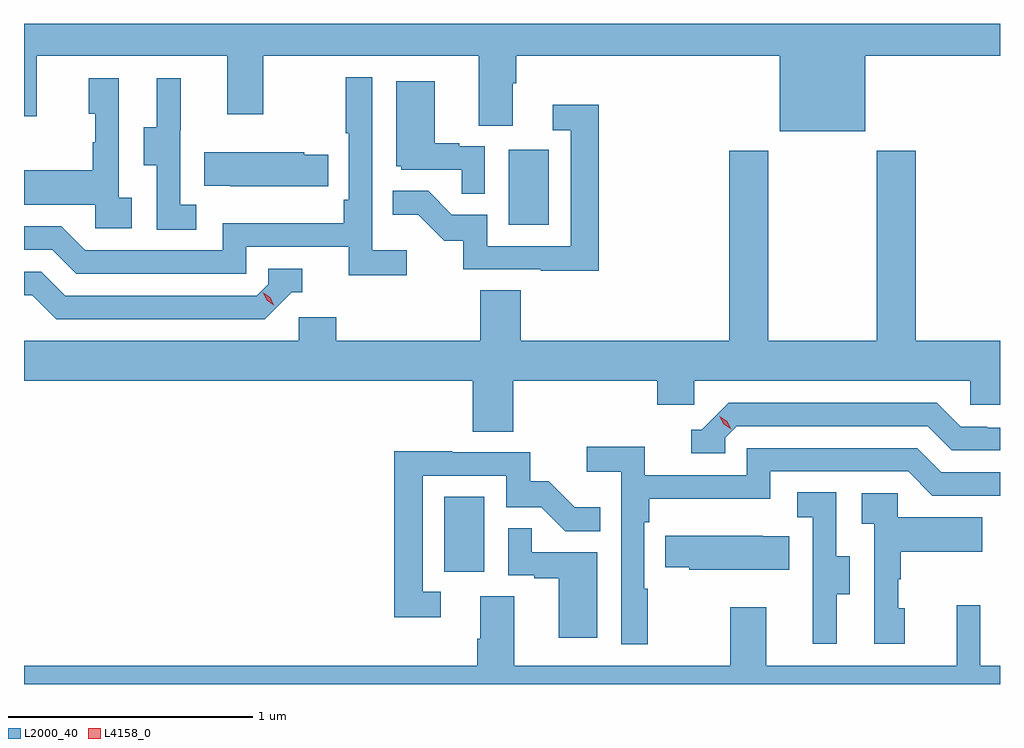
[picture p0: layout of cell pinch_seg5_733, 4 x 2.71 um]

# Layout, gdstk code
import gdstk
lib = gdstk.Library(unit=1e-6, precision=1e-09)
def R(c, l, rs):  # rectangles x0, y0, x1, y1
    for r in rs: c.add(gdstk.rectangle(r[:2], r[2:], *l))
def P(c, l, *ps):  # polygons
    for p in ps: c.add(gdstk.Polygon(p, *l))
L2000_40 = (2000, 40)
L4158_0 = (4158, 0)

pinch_seg5_733 = lib.new_cell('pinch_seg5_733')
R(pinch_seg5_733, L2000_40, [(880.826,913.254,880.99,913.561), (881.09,914.676,881.254,914.983)])
P(pinch_seg5_733, L2000_40, [(882.55,915.368),(883.103,915.368),(883.103,915.5),(879.103,915.5),(879.103,915.12),(879.155,915.12),(879.155,915.368),(879.935,915.368),(879.935,915.129),(880.083,915.129),(880.083,915.368),(880.967,915.368),(880.967,915.082),(881.107,915.082),(881.107,915.256),(881.12,915.256),(881.12,915.368),(882.2,915.368),(882.2,915.059),(882.55,915.059)],
  [(880.672,914.572),(880.53,914.572),(880.53,915.28),(880.422,915.28),(880.422,915.052),(880.434,915.052),(880.434,914.779),(880.414,914.779),(880.414,914.683),(879.918,914.683),(879.918,914.571),(879.354,914.571),(879.255,914.67),(879.103,914.67),(879.103,914.574),(879.218,914.574),(879.317,914.475),(880.014,914.475),(880.014,914.586),(880.433,914.586),(880.433,914.47),(880.672,914.47)],
  [(879.544,914.786),(879.492,914.786),(879.492,915.277),(879.368,915.277),(879.368,915.132),(879.394,915.132),(879.394,915.014),(879.384,915.014),(879.384,914.899),(879.103,914.899),(879.103,914.759),(879.396,914.759),(879.396,914.661),(879.544,914.661)],
  [(879.808,914.759),(879.744,914.759),(879.744,915.063),(879.746,915.063),(879.746,915.277),(879.647,915.277),(879.647,915.075),(879.593,915.075),(879.593,914.92),(879.648,914.92),(879.648,914.656),(879.808,914.656)],
  [(880.992,914.997),(880.886,914.997),(880.886,915.01),(880.786,915.01),(880.786,915.265),(880.628,915.265),(880.628,914.916),(880.65,914.916),(880.65,914.901),(880.897,914.901),(880.897,914.803),(880.992,914.803)],
  [(881.459,915.169),(881.271,915.169),(881.271,915.063),(881.343,915.063),(881.343,914.589),(881.001,914.589),(881.001,914.718),(880.857,914.718),(880.759,914.816),(880.615,914.816),(880.615,914.717),(880.719,914.717),(880.826,914.61),(880.903,914.61),(880.903,914.493),(881.221,914.493),(881.221,914.488),(881.459,914.488)],
  [(880.943,913.828),(881.108,913.828),(881.108,914.036),(881.699,914.036),(881.699,913.938),(881.85,913.938),(881.85,914.036),(882.981,914.036),(882.981,913.938),(883.103,913.938),(883.103,914.2),(882.758,914.2),(882.758,914.98),(882.598,914.98),(882.598,914.2),(882.153,914.2),(882.153,914.98),(881.993,914.98),(881.993,914.2),(881.138,914.2),(881.138,914.408),(880.973,914.408),(880.973,914.2),(880.382,914.2),(880.382,914.298),(880.23,914.298),(880.23,914.2),(879.103,914.2),(879.103,914.036),(880.943,914.036)],
  [(880.349,914.964),(880.251,914.964),(880.251,914.974),(879.841,914.974),(879.841,914.837),(879.949,914.837),(879.949,914.834),(880.349,914.834)],
  [(880.2,914.4),(880.243,914.4),(880.243,914.496),(880.104,914.496),(880.104,914.433),(880.056,914.385),(879.273,914.385),(879.174,914.484),(879.103,914.484),(879.103,914.388),(879.137,914.388),(879.236,914.289),(880.089,914.289)],
  [(881.976,913.803),(882.024,913.851),(882.807,913.851),(882.906,913.752),(883.103,913.752),(883.103,913.845),(883.05,913.845),(883.05,913.848),(882.943,913.848),(882.844,913.947),(881.991,913.947),(881.88,913.836),(881.837,913.836),(881.837,913.74),(881.976,913.74)],
  [(881.659,913.184),(881.646,913.184),(881.646,913.457),(881.666,913.457),(881.666,913.553),(882.162,913.553),(882.162,913.665),(882.726,913.665),(882.825,913.566),(883.103,913.566),(883.103,913.662),(882.862,913.662),(882.763,913.761),(882.066,913.761),(882.066,913.65),(881.648,913.65),(881.648,913.766),(881.409,913.766),(881.409,913.664),(881.55,913.664),(881.55,912.957),(881.659,912.957)],
  [(880.81,913.173),(880.737,913.173),(880.737,913.647),(881.079,913.647),(881.079,913.518),(881.223,913.518),(881.321,913.42),(881.465,913.42),(881.465,913.519),(881.361,913.519),(881.254,913.626),(881.178,913.626),(881.178,913.743),(880.859,913.743),(880.859,913.748),(880.621,913.748),(880.621,913.068),(880.81,913.068)],
  [(882.433,913.162),(882.487,913.162),(882.487,913.317),(882.432,913.317),(882.432,913.58),(882.273,913.58),(882.273,913.477),(882.336,913.477),(882.336,913.173),(882.335,913.173),(882.335,912.96),(882.433,912.96)],
  [(882.712,913.104),(882.687,913.104),(882.687,913.223),(882.697,913.223),(882.697,913.337),(883.031,913.337),(883.031,913.477),(882.684,913.477),(882.684,913.575),(882.537,913.575),(882.537,913.451),(882.588,913.451),(882.588,912.96),(882.712,912.96)],
  [(881.452,913.335),(881.183,913.335),(881.183,913.433),(881.088,913.433),(881.088,913.239),(881.195,913.239),(881.195,913.227),(881.294,913.227),(881.294,912.984),(881.452,912.984)],
  [(882.239,913.399),(882.131,913.399),(882.131,913.402),(881.731,913.402),(881.731,913.273),(881.829,913.273),(881.829,913.262),(882.239,913.262)],
  [(883.103,912.868),(883.023,912.868),(883.023,913.117),(882.926,913.117),(882.926,912.868),(882.145,912.868),(882.145,913.108),(881.998,913.108),(881.998,912.868),(881.113,912.868),(881.113,913.154),(880.973,913.154),(880.973,912.98),(880.961,912.98),(880.961,912.868),(879.103,912.868),(879.103,912.793),(883.103,912.793)])
P(pinch_seg5_733, L4158_0, [(880.127,914.347),(880.097,914.367),(880.081,914.4),(880.081,914.4),(880.082,914.4),(880.112,914.38),(880.127,914.347),(880.127,914.347)],
  [(882.001,913.838),(881.97,913.858),(881.955,913.89),(881.955,913.891),(881.955,913.891),(881.985,913.871),(882.001,913.838),(882.001,913.838)])

lib.write_gds('pinch_seg5_733.gds')
